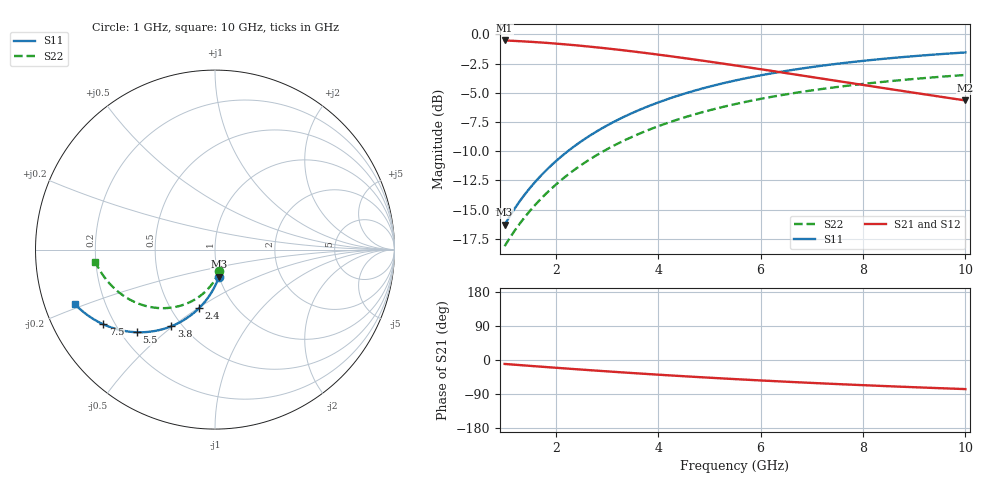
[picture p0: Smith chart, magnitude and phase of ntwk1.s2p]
! Source: https://github.com/scikit-rf/scikit-rf/blob/950534a5928d5c99e3fea2beaec7d82519800b0c/skrf/tests/ntwk1.s2p
! License: BSD-3-Clause
! Created Thu Nov 11 11:09:06 2010
# ghz S ri R 50
! 2 Port Network Data from SP1.SP block
! freq  reS11  imS11  reS21  imS21  reS12  imS12  reS22  imS22
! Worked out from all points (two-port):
!   91 points, 1 GHz to 10 GHz, reference 50 ohm
!   highest |S21| = -0.52 dB at 1 GHz (marker M1); lowest = -5.7 dB at 10 GHz (marker M2)
!   |S21| within 3 dB of the highest: start of sweep to 6.804 GHz
!   lowest |S11| = -16.3 dB at 1 GHz (marker M3), VSWR 1.36, Z = 49.8 - j15.5 ohm
!   |S11| at or under -10 dB: start of sweep to 2.236 GHz
!   |S22| runs from -18.1 to -3.5 dB; largest |S21 - S12| = 0
!   S11 on the Smith chart (normalised r, x): 1 GHz: 1.00, -0.31; 2.4 GHz: 0.69, -0.50; 3.8 GHz: 0.44, -0.49; 5.5 GHz: 0.26, -0.40; 7.5 GHz: 0.16, -0.30; 10 GHz: 0.09, -0.19
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1  0.0218 -0.1515  0.9267 -0.1701  0.9267 -0.1701  0.0235 -0.1217
1.1  0.0165 -0.1658  0.9215 -0.1863  0.9215 -0.1863  0.0185 -0.1331
1.3  0.00459 -0.1937  0.9097 -0.2179  0.9097 -0.2179  0.00742 -0.1551
1.6  -0.0164 -0.2335  0.8888 -0.2633  0.8888 -0.2633  -0.0122 -0.1861
1.8  -0.0323 -0.2584  0.873 -0.2921  0.873 -0.2921  -0.027 -0.2053
2  -0.0496 -0.2821  0.8558 -0.3195  0.8558 -0.3195  -0.0431 -0.2233
2.4  -0.0877 -0.325  0.8179 -0.3702  0.8179 -0.3702  -0.0784 -0.255
2.5  -0.0979 -0.3349  0.8078 -0.3819  0.8078 -0.3819  -0.0878 -0.262
2.8  -0.1296 -0.362  0.7763 -0.4149  0.7763 -0.4149  -0.1172 -0.2808
3.1  -0.1629 -0.3856  0.7432 -0.4443  0.7432 -0.4443  -0.1478 -0.2963
3.4  -0.1971 -0.4057  0.7091 -0.4704  0.7091 -0.4704  -0.1792 -0.3085
3.8  -0.2437 -0.4273  0.6627 -0.5  0.6627 -0.5  -0.2218 -0.3197
4  -0.2671 -0.4359  0.6393 -0.5126  0.6393 -0.5126  -0.2431 -0.3232
4.7  -0.3483 -0.4555  0.5582 -0.5464  0.5582 -0.5464  -0.3163 -0.3254
5.1  -0.3933 -0.4601  0.5132 -0.5592  0.5132 -0.5592  -0.3564 -0.3204
5.5  -0.4367 -0.4604  0.4696 -0.5678  0.4696 -0.5678  -0.3947 -0.3114
6.2  -0.508 -0.4524  0.3979 -0.5745  0.3979 -0.5745  -0.4565 -0.2878
7  -0.5813 -0.4327  0.3238 -0.5716  0.3238 -0.5716  -0.5183 -0.251
7.5  -0.6226 -0.4161  0.2818 -0.5656  0.2818 -0.5656  -0.5519 -0.2241
8.5  -0.6947 -0.3758  0.2079 -0.5466  0.2079 -0.5466  -0.6081 -0.1644
9.2  -0.7376 -0.3438  0.1634 -0.5295  0.1634 -0.5295  -0.6392 -0.1196
10  -0.7796 -0.3049  0.1192 -0.5077  0.1192 -0.5077  -0.6672 -0.067
